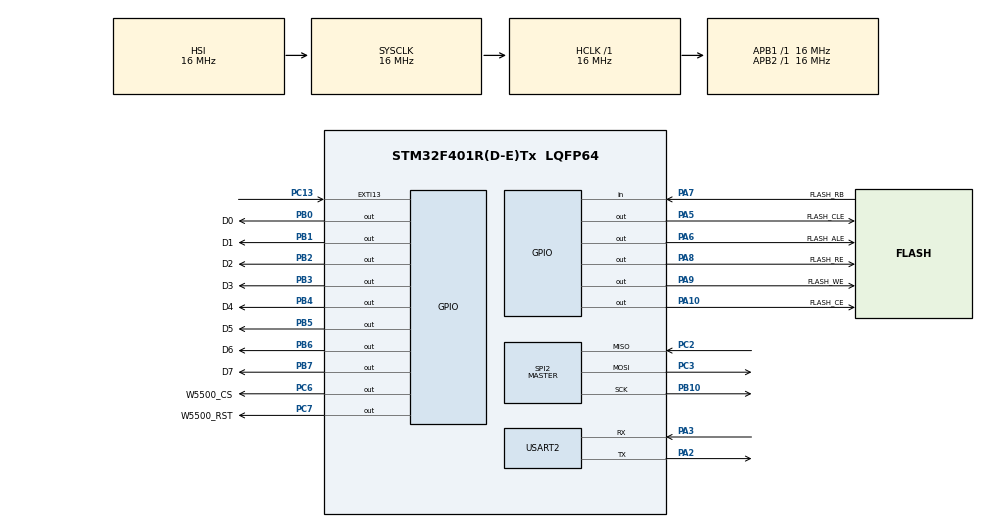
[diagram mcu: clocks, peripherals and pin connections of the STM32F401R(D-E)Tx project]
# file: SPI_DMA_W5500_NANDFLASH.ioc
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Dma.MEMTOMEM.2.Direction=DMA_MEMORY_TO_MEMORY
Dma.MEMTOMEM.2.FIFOMode=DMA_FIFOMODE_ENABLE
Dma.MEMTOMEM.2.FIFOThreshold=DMA_FIFO_THRESHOLD_FULL
Dma.MEMTOMEM.2.Instance=DMA2_Stream0
Dma.MEMTOMEM.2.MemBurst=DMA_MBURST_SINGLE
Dma.MEMTOMEM.2.MemDataAlignment=DMA_MDATAALIGN_BYTE
Dma.MEMTOMEM.2.MemInc=DMA_MINC_ENABLE
Dma.MEMTOMEM.2.Mode=DMA_NORMAL
Dma.MEMTOMEM.2.PeriphBurst=DMA_PBURST_SINGLE
Dma.MEMTOMEM.2.PeriphDataAlignment=DMA_PDATAALIGN_BYTE
Dma.MEMTOMEM.2.PeriphInc=DMA_PINC_ENABLE
Dma.MEMTOMEM.2.Priority=DMA_PRIORITY_VERY_HIGH
Dma.Request0=SPI2_RX
Dma.Request1=SPI2_TX
Dma.Request2=MEMTOMEM
Dma.Request3=USART2_RX
Dma.Request4=USART2_TX
Dma.SPI2_RX.0.Direction=DMA_PERIPH_TO_MEMORY
Dma.SPI2_RX.0.FIFOMode=DMA_FIFOMODE_DISABLE
Dma.SPI2_RX.0.Instance=DMA1_Stream3
Dma.SPI2_RX.0.MemDataAlignment=DMA_MDATAALIGN_BYTE
Dma.SPI2_RX.0.MemInc=DMA_MINC_ENABLE
Dma.SPI2_RX.0.Mode=DMA_NORMAL
Dma.SPI2_RX.0.PeriphDataAlignment=DMA_PDATAALIGN_BYTE
Dma.SPI2_RX.0.PeriphInc=DMA_PINC_DISABLE
Dma.SPI2_RX.0.Priority=DMA_PRIORITY_VERY_HIGH
Dma.SPI2_TX.1.Direction=DMA_MEMORY_TO_PERIPH
Dma.SPI2_TX.1.FIFOMode=DMA_FIFOMODE_DISABLE
Dma.SPI2_TX.1.Instance=DMA1_Stream4
Dma.SPI2_TX.1.MemDataAlignment=DMA_MDATAALIGN_BYTE
Dma.SPI2_TX.1.MemInc=DMA_MINC_ENABLE
Dma.SPI2_TX.1.Mode=DMA_NORMAL
Dma.SPI2_TX.1.PeriphDataAlignment=DMA_PDATAALIGN_BYTE
Dma.SPI2_TX.1.PeriphInc=DMA_PINC_DISABLE
Dma.SPI2_TX.1.Priority=DMA_PRIORITY_VERY_HIGH
Dma.USART2_RX.3.Direction=DMA_PERIPH_TO_MEMORY
Dma.USART2_RX.3.FIFOMode=DMA_FIFOMODE_DISABLE
Dma.USART2_RX.3.Instance=DMA1_Stream5
Dma.USART2_RX.3.MemDataAlignment=DMA_MDATAALIGN_BYTE
Dma.USART2_RX.3.MemInc=DMA_MINC_ENABLE
Dma.USART2_RX.3.Mode=DMA_NORMAL
Dma.USART2_RX.3.PeriphDataAlignment=DMA_PDATAALIGN_BYTE
Dma.USART2_RX.3.PeriphInc=DMA_PINC_DISABLE
Dma.USART2_RX.3.Priority=DMA_PRIORITY_VERY_HIGH
Dma.USART2_TX.4.Direction=DMA_MEMORY_TO_PERIPH
Dma.USART2_TX.4.FIFOMode=DMA_FIFOMODE_DISABLE
Dma.USART2_TX.4.Instance=DMA1_Stream6
Dma.USART2_TX.4.MemDataAlignment=DMA_MDATAALIGN_BYTE
Dma.USART2_TX.4.MemInc=DMA_MINC_ENABLE
Dma.USART2_TX.4.Mode=DMA_NORMAL
Dma.USART2_TX.4.PeriphDataAlignment=DMA_PDATAALIGN_BYTE
Dma.USART2_TX.4.PeriphInc=DMA_PINC_DISABLE
Dma.USART2_TX.4.Priority=DMA_PRIORITY_VERY_HIGH
Mcu.Family=STM32F4
Mcu.Name=STM32F401R(D-E)Tx
Mcu.Package=LQFP64
NVIC.DMA1_Stream3_IRQn=true\:0\:0\:false\:false\:true\:false\:true\:true
NVIC.DMA1_Stream4_IRQn=true\:0\:0\:false\:false\:true\:false\:true\:true
NVIC.DMA1_Stream5_IRQn=true\:0\:0\:false\:false\:true\:false\:true\:true
NVIC.DMA1_Stream6_IRQn=true\:0\:0\:false\:false\:true\:false\:true\:true
NVIC.EXTI15_10_IRQn=true\:2\:0\:true\:false\:true\:true\:true\:true
NVIC.PriorityGroup=NVIC_PRIORITYGROUP_4
NVIC.SPI2_IRQn=true\:0\:0\:false\:false\:true\:true\:true\:true
NVIC.USART2_IRQn=true\:0\:0\:true\:false\:true\:true\:true\:true
PA10.GPIO_Label=FLASH_CE
PA10.GPIO_Speed=GPIO_SPEED_FREQ_LOW
PA10.PinState=GPIO_PIN_RESET
PA10.Signal=GPIO_Output
PA2.Mode=Asynchronous
PA2.Signal=USART2_TX
PA3.Mode=Asynchronous
PA3.Signal=USART2_RX
PA5.GPIO_Label=FLASH_CLE
PA5.GPIO_Speed=GPIO_SPEED_FREQ_LOW
PA5.Signal=GPIO_Output
PA6.GPIO_Label=FLASH_ALE
PA6.GPIO_Speed=GPIO_SPEED_FREQ_LOW
PA6.Signal=GPIO_Output
PA7.GPIO_Label=FLASH_RB
PA7.Signal=GPIO_Input
PA8.GPIO_Label=FLASH_RE
PA8.GPIO_Speed=GPIO_SPEED_FREQ_LOW
PA8.Signal=GPIO_Output
PA9.GPIO_Label=FLASH_WE
PA9.GPIO_Speed=GPIO_SPEED_FREQ_LOW
PA9.PinState=GPIO_PIN_RESET
PA9.Signal=GPIO_Output
PB0.GPIO_Label=D0
PB0.GPIO_PuPd=GPIO_NOPULL
PB0.GPIO_Speed=GPIO_SPEED_FREQ_LOW
PB0.PinState=GPIO_PIN_RESET
PB0.Signal=GPIO_Output
PB1.GPIO_Label=D1
PB1.GPIO_Speed=GPIO_SPEED_FREQ_LOW
PB1.Signal=GPIO_Output
PB10.Mode=Full_Duplex_Master
PB10.Signal=SPI2_SCK
PB2.GPIO_Label=D2
PB2.GPIO_Speed=GPIO_SPEED_FREQ_LOW
PB2.Signal=GPIO_Output
PB3.GPIO_Label=D3
PB3.GPIO_Speed=GPIO_SPEED_FREQ_LOW
PB3.Signal=GPIO_Output
PB4.GPIO_Label=D4
PB4.GPIO_Speed=GPIO_SPEED_FREQ_LOW
PB4.Signal=GPIO_Output
PB5.GPIO_Label=D5
PB5.GPIO_Speed=GPIO_SPEED_FREQ_LOW
PB5.Signal=GPIO_Output
PB6.GPIO_Label=D6
PB6.GPIO_Speed=GPIO_SPEED_FREQ_LOW
PB6.Signal=GPIO_Output
PB7.GPIO_Label=D7
PB7.GPIO_Speed=GPIO_SPEED_FREQ_LOW
PB7.Signal=GPIO_Output
PC13-ANTI_TAMP.GPIO_ModeDefaultEXTI=GPIO_MODE_IT_FALLING
PC13-ANTI_TAMP.GPIO_PuPd=GPIO_PULLUP
PC13-ANTI_TAMP.Signal=GPXTI13
PC2.Mode=Full_Duplex_Master
PC2.Signal=SPI2_MISO
PC3.Mode=Full_Duplex_Master
PC3.Signal=SPI2_MOSI
PC6.GPIO_Label=W5500_CS
PC6.GPIO_Speed=GPIO_SPEED_FREQ_LOW
PC6.Signal=GPIO_Output
PC7.GPIO_Label=W5500_RST
PC7.GPIO_Speed=GPIO_SPEED_FREQ_LOW
PC7.Signal=GPIO_Output
PH0\ -\ OSC_IN.Mode=HSE-External-Oscillator
PH0\ -\ OSC_IN.Signal=RCC_OSC_IN
PH1\ -\ OSC_OUT.Mode=HSE-External-Oscillator
PH1\ -\ OSC_OUT.Signal=RCC_OSC_OUT
ProjectManager.HeapSize=0x200
ProjectManager.StackSize=0x400
ProjectManager.TargetToolchain=STM32CubeIDE
RCC.AHBFreq_Value=16000000
RCC.APB1Freq_Value=16000000
RCC.APB2Freq_Value=16000000
RCC.CortexFreq_Value=16000000
RCC.HSE_VALUE=25000000
RCC.HSI_VALUE=16000000
RCC.LSE_VALUE=32768
RCC.SYSCLKFreq_VALUE=16000000
RCC.VCOOutputFreq_Value=192000000
SPI2.Direction=SPI_DIRECTION_2LINES
SPI2.Mode=SPI_MODE_MASTER
SPI2.VirtualType=VM_MASTER
USART2.VirtualMode=VM_ASYNC
VP_TIM2_VS_ClockSourceINT.Mode=Internal
board=custom

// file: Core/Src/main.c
/* USER CODE BEGIN Header */

/* USER CODE END Header */
#include "main.h"

/* USER CODE BEGIN Includes */
#include "socket.h"
#include "w5500.h"
#include "wizchip_conf.h"
#include "stdarg.h"
#include <string.h>
#include <stdbool.h>
/* USER CODE END Includes */

/* USER CODE BEGIN PD */
uint8_t stat;
static uint8_t spi_tx_buf[8192];
static uint8_t spi_rx_buf[8192];
volatile bool spi_dma_completed = false;
volatile bool uartTxComplete = false;

#define START_PAGE 0
#define START_PAGE_READ 0
uint32_t current_page = START_PAGE;
uint32_t current_read_page = START_PAGE_READ;
#define BUFFER_SIZE 16384                                           // для W5500 макс. размер буффера для передачи данных 16кб в одну сторону
uint8_t write_buffer[BUFFER_SIZE];
uint8_t read_buffer[BUFFER_SIZE];
#define PAGE_SIZE               2048                                // макс размер страницы 2кб
#define PAGES_PER_BLOCK         64                                  // в блоке 64 страницы
#define TOTAL_BLOCKS            1024                                // максимальное количество блоков в Nand K9F1G08U0D
#define TOTAL_PAGES             (TOTAL_BLOCKS * PAGES_PER_BLOCK)    // общее количество страниц
#define WRITE_BUFFER_SIZE       PAGE_SIZE
#define READ_BUFFER_SIZE        PAGE_SIZE

volatile uint8_t button_pressed_flag = 0;
/* USER CODE END PD */

SPI_HandleTypeDef hspi2;
DMA_HandleTypeDef hdma_spi2_rx;
DMA_HandleTypeDef hdma_spi2_tx;

TIM_HandleTypeDef htim2;

UART_HandleTypeDef huart2;
DMA_HandleTypeDef hdma_usart2_rx;
DMA_HandleTypeDef hdma_usart2_tx;

DMA_HandleTypeDef hdma_memtomem_dma2_stream0;
/* USER CODE BEGIN PV */
// завершение передачи данных по spi dma
void HAL_SPI_TxRxCpltCallback(SPI_HandleTypeDef *hspi){
    if (hspi == &hspi2) {
        spi_dma_completed = true;
    }
}
// Сигнал о нажатии кнопки для прерывания работы цикла отправки и записи данных
void HAL_GPIO_EXTI_Callback(uint16_t GPIO_Pin){
    if(GPIO_Pin == GPIO_PIN_13){
        button_pressed_flag = 1;
    }
}
// Завершение передачи по usart dma
void HAL_UART_TxCpltCallback(UART_HandleTypeDef *huart){
    if (huart->Instance == USART2){
        uartTxComplete = true;
    }
}
// Отладка по usart
void UART_SendString(char* str){
	uartTxComplete = false;
	HAL_UART_Transmit_DMA(&huart2, (uint8_t*)str, strlen(str));
	while (!uartTxComplete);
}
// Вывод HEX данных
void UART_SendDataHex(uint8_t* data, uint32_t length){
    char buffer[256];
    for(uint32_t i = 0; i < length; i++){
        sprintf(buffer, "%02X ", data[i]);
        UART_SendString(buffer);
        if((i+1) % 16 == 0)
            UART_SendString("\r\n");
    }
    UART_SendString("\r\n");
}
// Вывод статуса Nand памяти (не исп.)
uint8_t NAND_ReadStatus() {
    uint8_t status = 0;
    NAND_SendCommand(0x70);
    status = NAND_ReadData();
    return status;
}
// Вывод номера страницы/блока и т д
void UART_SendNumber(uint32_t number) {
    char num_str[12];
    snprintf(num_str, sizeof(num_str), "%lu\r\n", number);
    UART_SendString(num_str);
}
// Ожидание готовности Nand флеш-памяти
int NAND_WaitReady(void) {
    const uint32_t timeout = 1;
    uint32_t start = HAL_GetTick();
    while (HAL_GPIO_ReadPin(FLASH_RB_GPIO_Port, FLASH_RB_Pin) == GPIO_PIN_RESET) {
        if ((HAL_GetTick() - start) > timeout) {
            return -1;
        }
    }
    return 0;
}
// Отправка команды в Nand флеш-память
void NAND_SendCommand(uint8_t command){
    FLASH_CLE_GPIO_Port->BSRR = FLASH_CLE_Pin;                          // Установить CLE (SET)
    FLASH_ALE_GPIO_Port->BSRR = (uint32_t)FLASH_ALE_Pin << 16U;         // Сбросить ALE (RESET)
    GPIOB->ODR = command;                                               // Записывает командный байт
    FLASH_WE_GPIO_Port->BSRR = (uint32_t)FLASH_WE_Pin << 16U;           // Сбросить WE (RESET - начало импульса WE)
    FLASH_WE_GPIO_Port->BSRR = FLASH_WE_Pin;                            // Установить WE (SET - конец импульса WE)
    FLASH_CLE_GPIO_Port->BSRR = (uint32_t)FLASH_CLE_Pin << 16U;         // Сбросить CLE (RESET)
}
// Отправка адреса в NAND флеш-память
void NAND_SendAddress(uint8_t address){
    FLASH_ALE_GPIO_Port->BSRR = FLASH_ALE_Pin;                          // Установить ALE (SET)
    FLASH_CLE_GPIO_Port->BSRR = (uint32_t)FLASH_CLE_Pin << 16U;         // Сбросить CLE (RESET)
    GPIOB->ODR = address;                                               // Записывает адресный байт
    FLASH_WE_GPIO_Port->BSRR = (uint32_t)FLASH_WE_Pin << 16U;           // Сбросить WE (RESET - начало импульса WE)
    FLASH_WE_GPIO_Port->BSRR = FLASH_WE_Pin;                            // Установить WE (SET - конец импульса WE)
    FLASH_ALE_GPIO_Port->BSRR = (uint32_t)FLASH_ALE_Pin << 16U;         // Сбросить ALE (RESET)
}
// Запись данных в NAND флеш-память
void NAND_WriteData(uint8_t data){
    FLASH_CLE_GPIO_Port->BSRR = (uint32_t)FLASH_CLE_Pin << 16U;         // Сбросить CLE (RESET)
    FLASH_ALE_GPIO_Port->BSRR = (uint32_t)FLASH_ALE_Pin << 16U;         // Сбросить ALE (RESET)
    GPIOB->MODER &= ~0x0000FFFF;                                        // Сбрасывает биты модерации 0-7
    GPIOB->MODER |= 0x00005555;                                         // Устанавливает режим пинов 0-7 как вход
    GPIOB->ODR = (GPIOB->ODR & ~0xFF) | (data & 0xFF);                  // Очищает младшие биты регистра и устанавливает значения data
    FLASH_WE_GPIO_Port->BSRR = (uint32_t)FLASH_WE_Pin << 16U;           // Сбросить WE (RESET)
    FLASH_WE_GPIO_Port->BSRR = FLASH_WE_Pin;                            // Установить WE (SET)
}
// Чтение одного байта данных из Nand флеш-памяти
uint8_t NAND_ReadData(void) {
    uint8_t data;
    GPIOB->MODER &= ~0x0000FFFF;                                        // сброс битов 0-7
    GPIOB->MODER |= 0x00004444;                                         // Устанавливает режим пинов 0-7 как вход
    FLASH_RE_GPIO_Port->BSRR = (uint32_t)FLASH_RE_Pin << 16U;           // Сбрасывает пин RE (активирует сигнал чтения)
    data = (uint8_t)(GPIOB->IDR & 0xFF);                                // Считывает младшие 8 бит из (IDR) и сохраняет их в data.
    FLASH_RE_GPIO_Port->BSRR = FLASH_RE_Pin;                            // Устанавливает пин RE (деактивирует сигнал чтения)
    GPIOB->MODER &= ~0x0000FFFF;                                        // сброс битов 0-7
    GPIOB->MODER |= 0x00005555;                                         // обратно на вывод
    return data;
}
// Стирание блока в NAND флеш-памяти
void NAND_EraseBlock(uint32_t block) {
    char debug_msg[50];
    NAND_SendCommand(0x60);                                             // команда начала очистки блока
    uint32_t page_address = block * PAGES_PER_BLOCK;                    // начальный адрес страницы
    NAND_SendAddress((uint8_t)(0x00));                                  // отправка первых двух байтов столбца(дважды)
    NAND_SendAddress((uint8_t)(0x00));
    NAND_SendAddress((uint8_t)(page_address & 0xFF));                   // Страница (байт 0)
    NAND_SendAddress((uint8_t)((page_address >> 8) & 0xFF));            // Страница (байт 1)
    NAND_SendAddress((uint8_t)((page_address >> 16) & 0xFF));           // Страница (байт 2)
    NAND_SendCommand(0xD0);                                             // команда завершения очистки блока
    snprintf(debug_msg, "Block %lu erased successfully\r\n", block);
    //UART_SendString(debug_msg);
}
// Запись данных в конкретную страницу NAND флеш-памяти
void NAND_WritePage(uint32_t page, uint32_t column, uint8_t* data) {
    NAND_SendCommand(0x80);                                             // команда начала записи
    NAND_SendAddress((uint8_t)(column & 0xFF));                         // Колонка (низкий байт)
    NAND_SendAddress((uint8_t)((column >> 8) & 0xFF));                  // Колонка (высокий байт)
    NAND_SendAddress((uint8_t)(page & 0xFF));                           // Страница (байт 0)
    NAND_SendAddress((uint8_t)((page >> 8) & 0xFF));                    // Страница (байт 1)
    NAND_SendAddress((uint8_t)((page >> 16) & 0xFF));                   // Страница (байт 2)
    for (int i = 0; i < PAGE_SIZE; i++) {                               // Запись данных в страницу
        NAND_WriteData(data[i]);
    }
    HAL_GPIO_WritePin(FLASH_WE_GPIO_Port, FLASH_WE_Pin, GPIO_PIN_RESET);// Активирует сигнал WE
    NAND_SendCommand(0x10);                                             // команада завершения записи
    if (NAND_WaitReady() != 0) {                                        // ожидание готовновсти
        UART_SendString("Write Operation Timeout\r\n");
    }
}
// Чтение данных из конкретной страницы NAND флеш-памяти
void NAND_ReadPage(uint32_t page, uint32_t column, uint8_t* buffer) {
    NAND_SendCommand(0x00);                                             // команда начала чтения
    NAND_SendAddress((uint8_t)(column & 0xFF));                         // Колонка (низкий байт)
    NAND_SendAddress((uint8_t)((column >> 8) & 0xFF));                  // Колонка (высокий байт)
    NAND_SendAddress((uint8_t)((page >> 0) & 0xFF));                    // Страница (байт 0)
    NAND_SendAddress((uint8_t)((page >> 8) & 0xFF));                    // Страница (байт 1)
    NAND_SendAddress((uint8_t)((page >> 16) & 0xFF));                   // Страница (байт 2)
    NAND_SendCommand(0x30);                                             // команда завешения чтения
    if (NAND_WaitReady() != 0){                                         // ожидание готовновсти
        UART_SendString("Read Operation Timeout\r\n");
        return;
    }
}
// Чтение всех страниц NAND флеш-памяти и вывод данных по UART для отладки
void ReadAllPages(){
	uint32_t page_count = 0;
	uint32_t total_pages = TOTAL_BLOCKS * PAGES_PER_BLOCK;
	UART_SendString("Start read all pages...\r\n");
	UART_SendString("Total pages: ");
	UART_SendNumber(total_pages);
	UART_SendString("\r\n");
    for(uint32_t block = 0; block < TOTAL_BLOCKS; block++){             // Итерация по каждому блоку
    	for(uint32_t page_in_block = 0; page_in_block < PAGES_PER_BLOCK; page_in_block++){ // Итерация по каждой странице внутри текущего блока
    		current_page = block * PAGES_PER_BLOCK + page_in_block;     // Вычисляет номер текущей страницы
    		for(uint32_t i = 0; i < READ_BUFFER_SIZE; i++) {            // Заполняет буфер
    			read_buffer[i] = (uint8_t)((current_page + i) & 0xFF);
    		}
    		NAND_ReadPage(current_page, 0, read_buffer);                // чтение страницы
    		page_count++;
            UART_SendString("Page ");
            UART_SendNumber(page_count);
            //UART_SendString("Read Data: \n");
            //UART_SendDataHex(read_buffer, READ_BUFFER_SIZE);
    	}
    }
}
// Сетевая информация
wiz_NetInfo netInfo = {.mac = {0x00, 0x08, 0xdc, 0xab, 0xcd, 0xef},
                       .ip = {192, 168, 1, 218},
                       .sn = {255, 255, 255, 0},
                       .gw = {192, 168, 1, 1},
                       .dns = {0, 0, 0, 0},
                       .dhcp = NETINFO_STATIC };
// Активация чипа W5500
void wizchip_select(void){
	(W5500_CS_GPIO_Port->BSRR = (uint32_t)W5500_CS_Pin << 16U);
}
// Деактивация чипа W5500
void wizchip_deselect(void){
	(W5500_CS_GPIO_Port->BSRR = W5500_CS_Pin);
}
// Сброс Ethernet-контроллера W5500
void wizchip_reset(void){
	(W5500_RST_GPIO_Port->BSRR = (uint32_t)W5500_RST_Pin << 16U);
	(W5500_RST_GPIO_Port->BSRR = W5500_RST_Pin);
}
// Отправка одного байта данных на W5500 по SPI
void wizchip_writebyte(uint8_t wb){
    uint8_t rb;
    spi_dma_completed = false;
    HAL_SPI_TransmitReceive_DMA(&hspi2, &wb, &rb, 1);                   // передача данных по spi dma
    while (!spi_dma_completed);                                         // ожидание завершения передачи/приёма данных
}
// Чтение одного байта данных с W5500 по SPI
uint8_t wizchip_readbyte(void){
    uint8_t rb = 0;
    uint8_t wb = 0xFF;
    spi_dma_completed = false;
    HAL_SPI_TransmitReceive_DMA(&hspi2, &wb, &rb, 1);
    while (!spi_dma_completed);
    return rb;
}
// Чтение серии байтов данных с W5500 по SPI
void wizchip_readburst(uint8_t* pBuf, uint16_t len){
    spi_dma_completed = false;
    HAL_SPI_TransmitReceive_DMA(&hspi2, spi_tx_buf, pBuf, len);
    while (!spi_dma_completed);
}
// Запись серии байтов данных на W5500 по SPI
void wizchip_writeburst(uint8_t* pBuf, uint16_t len){
    spi_dma_completed = false;
    HAL_SPI_TransmitReceive_DMA(&hspi2, pBuf, spi_rx_buf, len);
    while (!spi_dma_completed);
}
// Инициализация TCP сервера
void tcp_server_init() {
    if(stat = socket(0, Sn_MR_TCP, 5000, 0) == 0)                       // открытие сокета 0
    	UART_SendString("Socket init success\r\n");
    if(stat = getSn_SR(0)== SOCK_INIT)                                  // проверка статуса сокета
    	UART_SendString("Socket open success\r\n");
    if(stat = listen(0) == SOCK_OK)                                     // прослушивание сокета
    	UART_SendString("Listen socket success\r\n");
    while(getSn_SR(0) == SOCK_LISTEN)                                   // ожидание установления соединения в беск. цикле
        {
    			HAL_Delay(0);
        }
    if(getSn_SR(0) == SOCK_ESTABLISHED){                                // проверка установления соединения
    	UART_SendString("Input connection\r\n");
    }
}
// Отправка данных по установленному TCP-соединению, запись данных в NAND Flash, их верификация
void tcp_send(){
    uint32_t current_page = 0;
    uint32_t success_count = 0;
    static uint8_t initialized = 0;
    if(!initialized){                                                   // однократная инициализация заполения буффера
    	for(uint32_t i = 0; i < WRITE_BUFFER_SIZE; i++) {
    		write_buffer[i] = (uint8_t)(i & 0xFF);
    	}
    	initialized = 1;
    }
    if (getSn_SR(0) == SOCK_ESTABLISHED) {                              // проверка соединения
    	while (BUFFER_SIZE > 0) {                                       // бесконечный цикл
    		if(button_pressed_flag){                                    // обработка нажатия кнопки
    			button_pressed_flag = 0;                                // если есть нажатие вызывается функция полного считывания из Nand
    			ReadAllPages();
    			return;
    		}
        	int32_t nbytes = send(0, write_buffer, BUFFER_SIZE);        // функция отправки данных клиенту
        	if (nbytes > 0) {
        		//UART_SendString("Sending data and writing to NAND...\r\n");
        		if (current_page >= TOTAL_PAGES) {                      // проверка не достигнута ли макс. страница
        			UART_SendString("NAND Flash is full.\r\n");
        		    break;
        		}
                uint32_t block = current_page / PAGES_PER_BLOCK;
                uint32_t page_in_block = current_page % PAGES_PER_BLOCK;
                if (page_in_block == 0) {                               // определяется блок и первая страница внутри блока после чего стирается
                    UART_SendString("Erasing Block ");
                    UART_SendNumber(block);
                    //UART_SendString("...\r\n");
                    NAND_EraseBlock(block);
                }
                for(uint32_t i = 0; i < WRITE_BUFFER_SIZE; i++) {
                	write_buffer[i] = (uint8_t)((current_page + i) & 0xFF);
                }
                NAND_WritePage(current_page, 0, write_buffer);          // запись данных в страницу
            	//UART_SendNumber(block);
                //UART_SendString("\r\n");
                //UART_SendString("Written Data: \n");
                //UART_SendDataHex(write_buffer, WRITE_BUFFER_SIZE);
                for(uint32_t i = 0; i < READ_BUFFER_SIZE; i++) {
                	read_buffer[i] = (uint8_t)((current_page + i) & 0xFF);
                }
                NAND_ReadPage(current_page, 0, read_buffer);            // чтение данных со страницы
                //UART_SendString("Read Data: \n");
                //UART_SendDataHex(read_buffer, READ_BUFFER_SIZE);
                if(memcmp(write_buffer, read_buffer, WRITE_BUFFER_SIZE) != 0) { // верификация данных
                	UART_SendString("Data verification FAILED at page ");
                    UART_SendNumber(current_page);
                    UART_SendString("\r\n");
                } else {
                	//UART_SendString("Data verification PASSED\r\n");
                	//UART_SendNumber(block);
                    success_count++;
                }
                current_page++;
                if(current_page >= TOTAL_PAGES) {
                	UART_SendString("All pages written and verified. Restarting.\r\n");
                	current_page = 0;
                	success_count = 0;
                }
                //UART_SendString("Success Count: ");
                UART_SendNumber(success_count);
                //UART_SendString("\r\n");
        	}
        	else {
        		close(0);
        		UART_SendString("Socket closed.\r\n\n");
                break;
        	}
    	}
    }
    else {
        UART_SendString("Socket not established.\r\n");
    }
}
// Инициализация Ethernet-контроллера W5500
void w5500_init() {
  wizchip_reset();                                                          // Сброс чипа W5500
  reg_wizchip_cs_cbfunc(wizchip_select, wizchip_deselect);                  // Регистрация функций обратного вызова
  reg_wizchip_spi_cbfunc(wizchip_readbyte, wizchip_writebyte);
  reg_wizchip_spiburst_cbfunc(wizchip_readburst, wizchip_writeburst);
  uint8_t memsize[2][8] = {{16,0,0,0,0,0,0,0},{16,0,0,0,0,0,0,0}};          // 32кб на сокет 0 для передачи(16кб) и приема(16кб) данных
  wizchip_init(memsize, memsize);                                           // Инициализация размеров буферов
  wizchip_setnetinfo(&netInfo);                                             // Установка сетевой информации
  ctlnetwork(CN_SET_NETINFO, (void*) &netInfo);                             // Управление сетевой информацией
  HAL_Delay(10);
}

/* USER CODE END PV */

void SystemClock_Config(void);
static void MX_GPIO_Init(void);
static void MX_DMA_Init(void);
static void MX_SPI2_Init(void);
static void MX_TIM2_Init(void);
static void MX_USART2_UART_Init(void);

int main(void)
{

  /* MCU Configuration--------------------------------------------------------*/

  /* Reset of all peripherals, Initializes the Flash interface and the Systick. */
  HAL_Init();

  /* Configure the system clock */
  SystemClock_Config();

  /* Initialize all configured peripherals */
  MX_GPIO_Init();
  MX_DMA_Init();
  MX_SPI2_Init();
  MX_TIM2_Init();
  MX_USART2_UART_Init();

  /* Infinite loop */
  /* USER CODE BEGIN WHILE */
  while (1)
  {
	w5500_init();
	tcp_server_init();
	tcp_send();
	HAL_Delay(100);
    /* USER CODE END WHILE */

  }
}

void SystemClock_Config(void)
{
  RCC_OscInitTypeDef RCC_OscInitStruct = {0};
  RCC_ClkInitTypeDef RCC_ClkInitStruct = {0};

  /** Configure the main internal regulator output voltage
  */
  __HAL_RCC_PWR_CLK_ENABLE();
  __HAL_PWR_VOLTAGESCALING_CONFIG(PWR_REGULATOR_VOLTAGE_SCALE2);

  /** Initializes the RCC Oscillators according to the specified parameters
  * in the RCC_OscInitTypeDef structure.
  */
  RCC_OscInitStruct.OscillatorType = RCC_OSCILLATORTYPE_HSI;
  RCC_OscInitStruct.HSIState = RCC_HSI_ON;
  RCC_OscInitStruct.HSICalibrationValue = RCC_HSICALIBRATION_DEFAULT;
  RCC_OscInitStruct.PLL.PLLState = RCC_PLL_NONE;
  if (HAL_RCC_OscConfig(&RCC_OscInitStruct) != HAL_OK)
  {
    Error_Handler();
  }

  /** Initializes the CPU, AHB and APB buses clocks
  */
  RCC_ClkInitStruct.ClockType = RCC_CLOCKTYPE_HCLK|RCC_CLOCKTYPE_SYSCLK
                              |RCC_CLOCKTYPE_PCLK1|RCC_CLOCKTYPE_PCLK2;
  RCC_ClkInitStruct.SYSCLKSource = RCC_SYSCLKSOURCE_HSI;
  RCC_ClkInitStruct.AHBCLKDivider = RCC_SYSCLK_DIV1;
  RCC_ClkInitStruct.APB1CLKDivider = RCC_HCLK_DIV1;
  RCC_ClkInitStruct.APB2CLKDivider = RCC_HCLK_DIV1;

  if (HAL_RCC_ClockConfig(&RCC_ClkInitStruct, FLASH_LATENCY_0) != HAL_OK)
  {
    Error_Handler();
  }
}

static void MX_SPI2_Init(void)
{

  /* SPI2 parameter configuration*/
  hspi2.Instance = SPI2;
  hspi2.Init.Mode = SPI_MODE_MASTER;
  hspi2.Init.Direction = SPI_DIRECTION_2LINES;
  hspi2.Init.DataSize = SPI_DATASIZE_8BIT;
  hspi2.Init.CLKPolarity = SPI_POLARITY_LOW;
  hspi2.Init.CLKPhase = SPI_PHASE_1EDGE;
  hspi2.Init.NSS = SPI_NSS_SOFT;
  hspi2.Init.BaudRatePrescaler = SPI_BAUDRATEPRESCALER_2;
  hspi2.Init.FirstBit = SPI_FIRSTBIT_MSB;
  hspi2.Init.TIMode = SPI_TIMODE_DISABLE;
  hspi2.Init.CRCCalculation = SPI_CRCCALCULATION_DISABLE;
  hspi2.Init.CRCPolynomial = 10;
  if (HAL_SPI_Init(&hspi2) != HAL_OK)
  {
    Error_Handler();
  }

}

static void MX_TIM2_Init(void)
{

  TIM_ClockConfigTypeDef sClockSourceConfig = {0};
  TIM_MasterConfigTypeDef sMasterConfig = {0};

  htim2.Instance = TIM2;
  htim2.Init.Prescaler = 0;
  htim2.Init.CounterMode = TIM_COUNTERMODE_UP;
  htim2.Init.Period = 4294967295;
  htim2.Init.ClockDivision = TIM_CLOCKDIVISION_DIV1;
  htim2.Init.AutoReloadPreload = TIM_AUTORELOAD_PRELOAD_DISABLE;
  if (HAL_TIM_Base_Init(&htim2) != HAL_OK)
  {
    Error_Handler();
  }
  sClockSourceConfig.ClockSource = TIM_CLOCKSOURCE_INTERNAL;
  if (HAL_TIM_ConfigClockSource(&htim2, &sClockSourceConfig) != HAL_OK)
  {
    Error_Handler();
  }
  sMasterConfig.MasterOutputTrigger = TIM_TRGO_RESET;
  sMasterConfig.MasterSlaveMode = TIM_MASTERSLAVEMODE_DISABLE;
  if (HAL_TIMEx_MasterConfigSynchronization(&htim2, &sMasterConfig) != HAL_OK)
  {
    Error_Handler();
  }

}

static void MX_USART2_UART_Init(void)
{

  huart2.Instance = USART2;
  huart2.Init.BaudRate = 115200;
  huart2.Init.WordLength = UART_WORDLENGTH_8B;
  huart2.Init.StopBits = UART_STOPBITS_1;
  huart2.Init.Parity = UART_PARITY_NONE;
  huart2.Init.Mode = UART_MODE_TX_RX;
  huart2.Init.HwFlowCtl = UART_HWCONTROL_NONE;
  huart2.Init.OverSampling = UART_OVERSAMPLING_16;
  if (HAL_UART_Init(&huart2) != HAL_OK)
  {
    Error_Handler();
  }

}

static void MX_DMA_Init(void)
{

  /* DMA controller clock enable */
  __HAL_RCC_DMA1_CLK_ENABLE();
  __HAL_RCC_DMA2_CLK_ENABLE();

  /* Configure DMA request hdma_memtomem_dma2_stream0 on DMA2_Stream0 */
  hdma_memtomem_dma2_stream0.Instance = DMA2_Stream0;
  hdma_memtomem_dma2_stream0.Init.Channel = DMA_CHANNEL_0;
  hdma_memtomem_dma2_stream0.Init.Direction = DMA_MEMORY_TO_MEMORY;
  hdma_memtomem_dma2_stream0.Init.PeriphInc = DMA_PINC_ENABLE;
  hdma_memtomem_dma2_stream0.Init.MemInc = DMA_MINC_ENABLE;
  hdma_memtomem_dma2_stream0.Init.PeriphDataAlignment = DMA_PDATAALIGN_BYTE;
  hdma_memtomem_dma2_stream0.Init.MemDataAlignment = DMA_MDATAALIGN_BYTE;
  hdma_memtomem_dma2_stream0.Init.Mode = DMA_NORMAL;
  hdma_memtomem_dma2_stream0.Init.Priority = DMA_PRIORITY_VERY_HIGH;
  hdma_memtomem_dma2_stream0.Init.FIFOMode = DMA_FIFOMODE_ENABLE;
  hdma_memtomem_dma2_stream0.Init.FIFOThreshold = DMA_FIFO_THRESHOLD_FULL;
  hdma_memtomem_dma2_stream0.Init.MemBurst = DMA_MBURST_SINGLE;
  hdma_memtomem_dma2_stream0.Init.PeriphBurst = DMA_PBURST_SINGLE;
  if (HAL_DMA_Init(&hdma_memtomem_dma2_stream0) != HAL_OK)
  {
    Error_Handler( );
  }

  /* DMA interrupt init */
  /* DMA1_Stream3_IRQn interrupt configuration */
  HAL_NVIC_SetPriority(DMA1_Stream3_IRQn, 0, 0);
  HAL_NVIC_EnableIRQ(DMA1_Stream3_IRQn);
  /* DMA1_Stream4_IRQn interrupt configuration */
  HAL_NVIC_SetPriority(DMA1_Stream4_IRQn, 0, 0);
  HAL_NVIC_EnableIRQ(DMA1_Stream4_IRQn);
  /* DMA1_Stream5_IRQn interrupt configuration */
  HAL_NVIC_SetPriority(DMA1_Stream5_IRQn, 0, 0);
  HAL_NVIC_EnableIRQ(DMA1_Stream5_IRQn);
  /* DMA1_Stream6_IRQn interrupt configuration */
  HAL_NVIC_SetPriority(DMA1_Stream6_IRQn, 0, 0);
  HAL_NVIC_EnableIRQ(DMA1_Stream6_IRQn);

}

static void MX_GPIO_Init(void)
{
  GPIO_InitTypeDef GPIO_InitStruct = {0};

  /* GPIO Ports Clock Enable */
  __HAL_RCC_GPIOC_CLK_ENABLE();
  __HAL_RCC_GPIOH_CLK_ENABLE();
  __HAL_RCC_GPIOA_CLK_ENABLE();
  __HAL_RCC_GPIOB_CLK_ENABLE();

  /*Configure GPIO pin Output Level */
  HAL_GPIO_WritePin(GPIOA, FLASH_CLE_Pin|FLASH_ALE_Pin|FLASH_RE_Pin|FLASH_WE_Pin
                          |FLASH_CE_Pin, GPIO_PIN_RESET);

  /*Configure GPIO pin Output Level */
  HAL_GPIO_WritePin(GPIOB, D0_Pin|D1_Pin|D2_Pin|D3_Pin
                          |D4_Pin|D5_Pin|D6_Pin|D7_Pin, GPIO_PIN_RESET);

  /*Configure GPIO pin Output Level */
  HAL_GPIO_WritePin(GPIOC, W5500_CS_Pin|W5500_RST_Pin, GPIO_PIN_RESET);

  /*Configure GPIO pin : PC13 */
  GPIO_InitStruct.Pin = GPIO_PIN_13;
  GPIO_InitStruct.Mode = GPIO_MODE_IT_FALLING;
  GPIO_InitStruct.Pull = GPIO_PULLUP;
  HAL_GPIO_Init(GPIOC, &GPIO_InitStruct);

  /*Configure GPIO pins : FLASH_CLE_Pin FLASH_ALE_Pin FLASH_RE_Pin FLASH_WE_Pin
                           FLASH_CE_Pin */
  GPIO_InitStruct.Pin = FLASH_CLE_Pin|FLASH_ALE_Pin|FLASH_RE_Pin|FLASH_WE_Pin
                          |FLASH_CE_Pin;
  GPIO_InitStruct.Mode = GPIO_MODE_OUTPUT_PP;
  GPIO_InitStruct.Pull = GPIO_NOPULL;
  GPIO_InitStruct.Speed = GPIO_SPEED_FREQ_LOW;
  HAL_GPIO_Init(GPIOA, &GPIO_InitStruct);

  /*Configure GPIO pin : FLASH_RB_Pin */
  GPIO_InitStruct.Pin = FLASH_RB_Pin;
  GPIO_InitStruct.Mode = GPIO_MODE_INPUT;
  GPIO_InitStruct.Pull = GPIO_NOPULL;
  HAL_GPIO_Init(FLASH_RB_GPIO_Port, &GPIO_InitStruct);

  /*Configure GPIO pins : D0_Pin D1_Pin D2_Pin D3_Pin
                           D4_Pin D5_Pin D6_Pin D7_Pin */
  GPIO_InitStruct.Pin = D0_Pin|D1_Pin|D2_Pin|D3_Pin
                          |D4_Pin|D5_Pin|D6_Pin|D7_Pin;
  GPIO_InitStruct.Mode = GPIO_MODE_OUTPUT_PP;
  GPIO_InitStruct.Pull = GPIO_NOPULL;
  GPIO_InitStruct.Speed = GPIO_SPEED_FREQ_LOW;
  HAL_GPIO_Init(GPIOB, &GPIO_InitStruct);

  /*Configure GPIO pins : W5500_CS_Pin W5500_RST_Pin */
  GPIO_InitStruct.Pin = W5500_CS_Pin|W5500_RST_Pin;
  GPIO_InitStruct.Mode = GPIO_MODE_OUTPUT_PP;
  GPIO_InitStruct.Pull = GPIO_NOPULL;
  GPIO_InitStruct.Speed = GPIO_SPEED_FREQ_LOW;
  HAL_GPIO_Init(GPIOC, &GPIO_InitStruct);

  /* EXTI interrupt init*/
  HAL_NVIC_SetPriority(EXTI15_10_IRQn, 2, 0);
  HAL_NVIC_EnableIRQ(EXTI15_10_IRQn);

}

void Error_Handler(void)
{
  __disable_irq();
  while (1)
  {
  }
}
